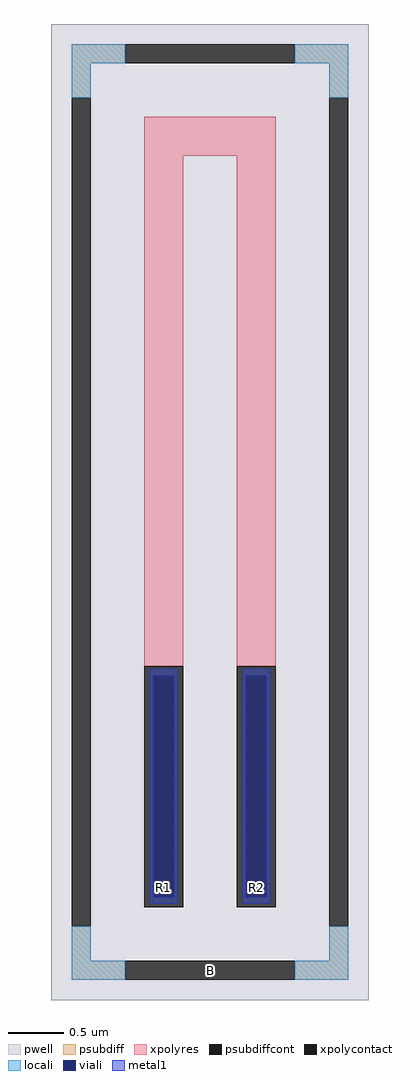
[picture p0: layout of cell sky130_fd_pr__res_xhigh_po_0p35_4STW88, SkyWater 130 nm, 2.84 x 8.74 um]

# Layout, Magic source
magic
tech sky130A
magscale 1 2
<< pwell >>
rect -284 -874 284 874
<< psubdiff >>
rect -248 804 -152 838
rect 152 804 248 838
rect -248 742 -214 804
rect 214 742 248 804
rect -248 -804 -214 -742
rect 214 -804 248 -742
rect -248 -838 -152 -804
rect 152 -838 248 -804
<< psubdiffcont >>
rect -152 804 152 838
rect -248 -742 -214 742
rect 214 -742 248 742
rect -152 -838 152 -804
<< xpolycontact >>
rect -118 -708 -48 -276
rect 48 -708 118 -276
<< xpolyres >>
rect -118 638 118 708
rect -118 -276 -48 638
rect 48 -276 118 638
<< locali >>
rect -248 804 -152 838
rect 152 804 248 838
rect -248 742 -214 804
rect 214 742 248 804
rect -248 -804 -214 -742
rect 214 -804 248 -742
rect -248 -838 -152 -804
rect 152 -838 248 -804
<< viali >>
rect -102 -690 -64 -293
rect 64 -690 102 -293
<< metal1 >>
rect -108 -293 -58 -281
rect -108 -690 -102 -293
rect -64 -690 -58 -293
rect -108 -702 -58 -690
rect 58 -293 108 -281
rect 58 -690 64 -293
rect 102 -690 108 -293
rect 58 -702 108 -690
<< labels >>
rlabel psubdiffcont 0 -821 0 -821 0 B
port 1 nsew
rlabel xpolycontact -83 -673 -83 -673 0 R1
port 2 nsew
rlabel xpolycontact 83 -673 83 -673 0 R2
port 3 nsew
<< properties >>
string FIXED_BBOX -231 -821 231 821
string gencell sky130_fd_pr__res_xhigh_po_0p35
string library sky130
string parameters w 0.35 l 4.4 m 1 nx 2 wmin 0.350 lmin 0.50 class resistor rho 2000 val 53.361k dummy 0 dw 0.0 term 188.2 sterm 0.0 caplen 0 wmax 0.350 guard 1 glc 1 grc 1 gtc 1 gbc 1 compatible {sky130_fd_pr__res_xhigh_po_0p35  sky130_fd_pr__res_xhigh_po_0p69 sky130_fd_pr__res_xhigh_po_1p41  sky130_fd_pr__res_xhigh_po_2p85 sky130_fd_pr__res_xhigh_po_5p73} snake 1 full_metal 1 n_guard 0 hv_guard 0 vias 1 viagb 0 viagt 0 viagl 0 viagr 0 doports 1
<< end >>
